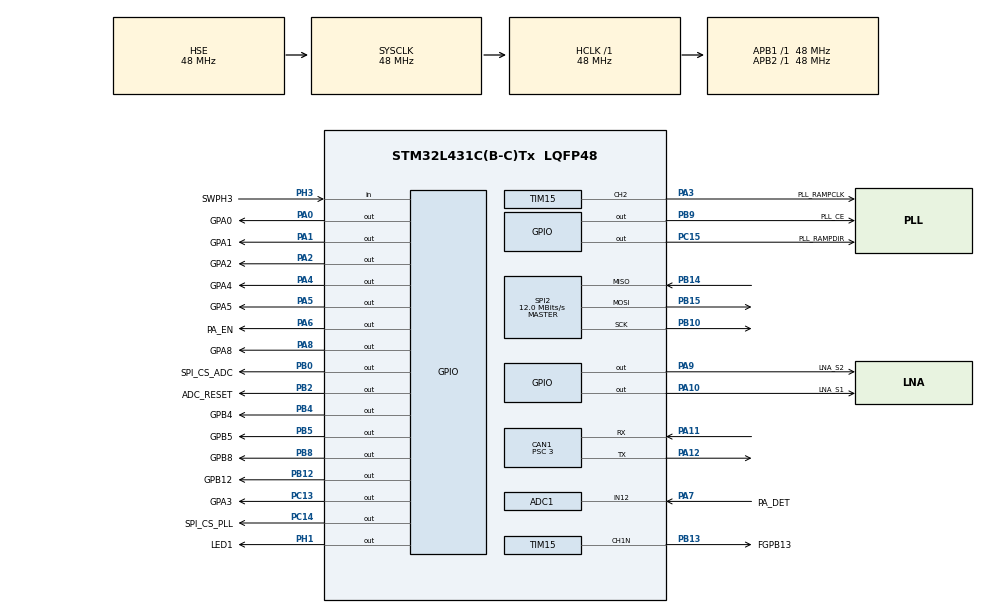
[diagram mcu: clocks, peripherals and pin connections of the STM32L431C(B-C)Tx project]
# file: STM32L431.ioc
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ADC1.Channel-1\#ChannelRegularConversion=ADC_CHANNEL_TEMPSENSOR
ADC1.Channel-2\#ChannelRegularConversion=ADC_CHANNEL_12
ADC1.ContinuousConvMode=DISABLE
ADC1.DMAContinuousRequests=ENABLE
ADC1.NbrOfConversion=2
ADC1.NbrOfConversionFlag=1
ADC1.OffsetNumber-1\#ChannelRegularConversion=ADC_OFFSET_NONE
ADC1.OffsetNumber-2\#ChannelRegularConversion=ADC_OFFSET_NONE
ADC1.Rank-1\#ChannelRegularConversion=1
ADC1.Rank-2\#ChannelRegularConversion=2
ADC1.Resolution=ADC_RESOLUTION_12B
ADC1.SamplingTime-1\#ChannelRegularConversion=ADC_SAMPLETIME_12CYCLES_5
ADC1.SamplingTime-2\#ChannelRegularConversion=ADC_SAMPLETIME_2CYCLES_5
ADC1.master=1
CAN1.BS1=CAN_BS1_13TQ
CAN1.BS2=CAN_BS2_2TQ
CAN1.CalculateBaudRate=1000000
CAN1.CalculateTimeBit=1000
CAN1.CalculateTimeQuantum=62.5
CAN1.Prescaler=3
Dma.ADC1.0.Direction=DMA_PERIPH_TO_MEMORY
Dma.ADC1.0.Instance=DMA1_Channel1
Dma.ADC1.0.MemDataAlignment=DMA_MDATAALIGN_HALFWORD
Dma.ADC1.0.MemInc=DMA_MINC_ENABLE
Dma.ADC1.0.Mode=DMA_NORMAL
Dma.ADC1.0.PeriphDataAlignment=DMA_PDATAALIGN_HALFWORD
Dma.ADC1.0.PeriphInc=DMA_PINC_DISABLE
Dma.ADC1.0.Priority=DMA_PRIORITY_LOW
Dma.Request0=ADC1
Mcu.Family=STM32L4
Mcu.Name=STM32L431C(B-C)Tx
Mcu.Package=LQFP48
NVIC.ADC1_IRQn=true\:0\:0\:false\:false\:true\:true\:true\:true
NVIC.CAN1_RX0_IRQn=true\:0\:0\:false\:false\:true\:true\:true\:true
NVIC.DMA1_Channel1_IRQn=true\:0\:0\:false\:false\:true\:false\:true\:true
NVIC.PriorityGroup=NVIC_PRIORITYGROUP_4
NVIC.TIM1_BRK_TIM15_IRQn=true\:0\:0\:false\:false\:true\:true\:true\:true
PA0.GPIO_Label=GPA0
PA0.Signal=GPIO_Output
PA1.GPIO_Label=GPA1
PA1.Signal=GPIO_Output
PA10.GPIO_Label=LNA_S1
PA10.Signal=GPIO_Output
PA11.Mode=CAN_Activate
PA11.Signal=CAN1_RX
PA12.Mode=CAN_Activate
PA12.Signal=CAN1_TX
PA13\ (JTMS-SWDIO).Mode=Serial_Wire
PA13\ (JTMS-SWDIO).Signal=SYS_JTMS-SWDIO
PA14\ (JTCK-SWCLK).Mode=Serial_Wire
PA14\ (JTCK-SWCLK).Signal=SYS_JTCK-SWCLK
PA2.GPIO_Label=GPA2
PA2.Signal=GPIO_Output
PA3.GPIO_Label=PLL_RAMPCLK
PA3.GPIO_Speed=GPIO_SPEED_FREQ_VERY_HIGH
PA3.Signal=S_TIM15_CH2
PA4.GPIO_Label=GPA4
PA4.Signal=GPIO_Output
PA5.GPIO_Label=GPA5
PA5.Signal=GPIO_Output
PA6.GPIO_Label=PA_EN
PA6.PinState=GPIO_PIN_SET
PA6.Signal=GPIO_Output
PA7.GPIO_Label=PA_DET
PA7.Signal=ADCx_IN12
PA8.GPIO_Label=GPA8
PA8.Signal=GPIO_Output
PA9.GPIO_Label=LNA_S2
PA9.Signal=GPIO_Output
PB0.GPIO_Label=SPI_CS_ADC
PB0.PinState=GPIO_PIN_SET
PB0.Signal=GPIO_Output
PB10.Mode=Full_Duplex_Master
PB10.Signal=SPI2_SCK
PB12.GPIO_Label=GPB12
PB12.Signal=GPIO_Output
PB13.GPIO_Label=FGPB13
PB13.GPIO_Speed=GPIO_SPEED_FREQ_VERY_HIGH
PB13.Mode=Output Compare1 CH1N
PB13.Signal=TIM15_CH1N
PB14.Mode=Full_Duplex_Master
PB14.Signal=SPI2_MISO
PB15.Mode=Full_Duplex_Master
PB15.Signal=SPI2_MOSI
PB2.GPIO_Label=ADC_RESET
PB2.PinState=GPIO_PIN_SET
PB2.Signal=GPIO_Output
PB4\ (NJTRST).GPIO_Label=GPB4
PB4\ (NJTRST).Signal=GPIO_Output
PB5.GPIO_Label=GPB5
PB5.Signal=GPIO_Output
PB8.GPIO_Label=GPB8
PB8.Signal=GPIO_Output
PB9.GPIO_Label=PLL_CE
PB9.Signal=GPIO_Output
PC13.GPIO_Label=GPA3
PC13.Signal=GPIO_Output
PC14-OSC32_IN\ (PC14).GPIO_Label=SPI_CS_PLL
PC14-OSC32_IN\ (PC14).PinState=GPIO_PIN_SET
PC14-OSC32_IN\ (PC14).Signal=GPIO_Output
PC15-OSC32_OUT\ (PC15).GPIO_Label=PLL_RAMPDIR
PC15-OSC32_OUT\ (PC15).Signal=GPIO_Output
PH0-OSC_IN\ (PH0).Mode=HSE-External-Clock-Source
PH0-OSC_IN\ (PH0).Signal=RCC_OSC_IN
PH1-OSC_OUT\ (PH1).GPIO_Label=LED1
PH1-OSC_OUT\ (PH1).PinState=GPIO_PIN_SET
PH1-OSC_OUT\ (PH1).Signal=GPIO_Output
PH3-BOOT0.GPIO_Label=SWPH3
PH3-BOOT0.Signal=GPIO_Input
ProjectManager.HeapSize=0x200
ProjectManager.StackSize=0x400
ProjectManager.TargetToolchain=STM32CubeIDE
RCC.ADCCLockSelection=RCC_ADCCLKSOURCE_SYSCLK
RCC.ADCFreq_Value=48000000
RCC.AHBFreq_Value=48000000
RCC.APB1Freq_Value=48000000
RCC.APB1TimFreq_Value=48000000
RCC.APB2Freq_Value=48000000
RCC.APB2TimFreq_Value=48000000
RCC.CK48CLockSelection=RCC_USBCLKSOURCE_HSI48
RCC.CortexFreq_Value=48000000
RCC.HCLKFreq_Value=48000000
RCC.HSE_VALUE=48000000
RCC.HSI48_VALUE=48000000
RCC.HSI_VALUE=16000000
RCC.LSE_VALUE=32768
RCC.MSI_VALUE=4000000
RCC.PLLM=3
RCC.PLLSourceVirtual=RCC_PLLSOURCE_HSE
RCC.SYSCLKFreq_VALUE=48000000
RCC.SYSCLKSource=RCC_SYSCLKSOURCE_HSE
RCC.VCOOutputFreq_Value=128000000
RCC.VDD_VALUE=2.5
SH.ADCx_IN12.0=ADC1_IN12,IN12-Single-Ended
SH.S_TIM15_CH2.0=TIM15_CH2,Output Compare2 CH2
SPI2.BaudRatePrescaler=SPI_BAUDRATEPRESCALER_4
SPI2.CalculateBaudRate=12.0 MBits/s
SPI2.DataSize=SPI_DATASIZE_8BIT
SPI2.Direction=SPI_DIRECTION_2LINES
SPI2.Mode=SPI_MODE_MASTER
SPI2.TIMode=SPI_TIMODE_DISABLE
SPI2.VirtualType=VM_MASTER
TIM15.Channel-Output\ Compare1\ CH1N=TIM_CHANNEL_1
TIM15.Channel-Output\ Compare2\ CH2=TIM_CHANNEL_2
TIM15.OC2Preload=DISABLE
TIM15.OCMode_1=TIM_OCMODE_TOGGLE
TIM15.OCMode_2=TIM_OCMODE_TOGGLE
TIM15.Period=65535
TIM15.Prescaler=19
TIM15.Pulse-Output\ Compare2\ CH2=0
VP_ADC1_TempSens_Input.Mode=IN-TempSens
VP_ADC1_Vref_Input.Mode=IN-Vrefint
VP_RNG_VS_RNG.Mode=RNG_Activate
VP_TIM15_VS_ClockSourceINT.Mode=Internal
VP_TIM2_VS_ClockSourceITR.Mode=TriggerSource_ITR0
board=custom

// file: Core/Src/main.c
/* USER CODE BEGIN Header */
/**
  ******************************************************************************
  * @file           : main.c
  * @brief          : Main program body
  ******************************************************************************
  * @attention
  *
  * Copyright (c) 2023 STMicroelectronics.
  * All rights reserved.
  *
  * This software is licensed under terms that can be found in the LICENSE file
  * in the root directory of this software component.
  * If no LICENSE file comes with this software, it is provided AS-IS.
  *
  ******************************************************************************
  */
/* USER CODE END Header */
#include "main.h"
#include "adc.h"
#include "can.h"
#include "dma.h"
#include "rng.h"
#include "spi.h"
#include "tim.h"
#include "gpio.h"

/* USER CODE BEGIN Includes */
#include <math.h>
/* USER CODE END Includes */

/* USER CODE BEGIN PD */

#define INTERNAL_TEMPSENSOR_V25        ((int32_t)741)
#define INTERNAL_TEMPSENSOR_AVGSLOPE   ((int32_t)4300)
#define INTERNAL_VREF_CALIB_VALUE   &((uint16_t*)(0x1FFF75AA))

/* USER CODE END PD */

/* USER CODE BEGIN PM */

#define COMPUTATION_TEMPERATURE_STD_PARAMS(TS_ADC_DATA)                        \
  ((((int32_t)(INTERNAL_TEMPSENSOR_V25 - (((TS_ADC_DATA) * VDD_APPLIED) / 4095)   \
     ) * 1000                                                                  \
    ) / INTERNAL_TEMPSENSOR_AVGSLOPE                                           \
   ) + 25                                                                      \
  )

#define COMPUTATION_DIGITAL_12BITS_TO_VOLTAGE(ADC_DATA) ( ((ADC_DATA) * VDD_APPLIED) / 4095)

/* USER CODE END PM */

/* USER CODE BEGIN PV */

uint8_t CAN_request_doactivetimer = 0;

#define TIPLL_FOSCIN 48000000.0f
const uint8_t TIPLL_OSC2X = 1;
const uint8_t TIPLL_MULT = 1;
const uint8_t TIPLL_PRER = 1;
const uint8_t TIPLL_POSTR = 1;
const float TIPLL_FPD = TIPLL_FOSCIN * TIPLL_OSC2X * TIPLL_MULT / TIPLL_PRER / TIPLL_POSTR;
uint8_t TIPLL_DENQ = 32;
//uint32_t TIPLL_DEN = 0xFFFFFFFF;

#define ADCSAMPLE_SIZE (uint32_t)2
#define ADCSAMPLE_PAPWR 0
#define ADCSAMPLE_INTTEMP 1

const uint32_t VDD_APPLIED = 2500; // mV

uint16_t PAPWR_mV = 0;
float	 PAPWR_dB = -40;
 int32_t INTTEMP = 0;

__IO uint16_t adcSampleValues[ADCSAMPLE_SIZE];

/* USER CODE END PV */

void SystemClock_Config(void);
/* USER CODE BEGIN PFP */
void SPIInitTiAdc(void);
void SPIInitTiPll(void);
/* USER CODE END PFP */

int main(void)
{

  /* MCU Configuration--------------------------------------------------------*/

  /* Reset of all peripherals, Initializes the Flash interface and the Systick. */
  HAL_Init();

  /* Configure the system clock */
  SystemClock_Config();

  /* Initialize all configured peripherals */
  MX_GPIO_Init();
  MX_DMA_Init();
  MX_CAN1_Init();
  MX_SPI2_Init();
  MX_TIM15_Init();
  MX_ADC1_Init();
  MX_TIM2_Init();
  MX_RNG_Init();
  /* USER CODE BEGIN 2 */

  HAL_ADCEx_Calibration_Start(&hadc1, ADC_SINGLE_ENDED);
  HAL_ADC_Start_DMA(&hadc1, (uint32_t*)adcSampleValues, ADCSAMPLE_SIZE);

  HAL_CAN_Start(&hcan1);

  SPIInitTiAdc();
  SPIInitTiPll();

  /* USER CODE END 2 */

  /* Infinite loop */
  /* USER CODE BEGIN WHILE */
  while (1)
  {
	  if (CAN_request_doactivetimer && !LL_TIM_IsEnabledCounter(TIM15)) {
		  LL_TIM_EnableCounter(TIM15);

		  canTxHeader.StdId = 0x102;
		  canTxHeader.RTR = CAN_RTR_DATA;
		  canTxHeader.IDE = CAN_ID_STD;
		  canTxHeader.DLC = CAN_DLC_1B;
		  canTx0Data[0] = 0x01;
		  TxMailBox = HAL_CAN_GetTxMailboxesFreeLevel(&hcan1);
		  HAL_CAN_AddTxMessage(&hcan1, &canTxHeader, canTx0Data, &TxMailBox);

	  }
    /* USER CODE END WHILE */

  }
}

void SystemClock_Config(void)
{
  RCC_OscInitTypeDef RCC_OscInitStruct = {0};
  RCC_ClkInitTypeDef RCC_ClkInitStruct = {0};

  /** Configure the main internal regulator output voltage
  */
  if (HAL_PWREx_ControlVoltageScaling(PWR_REGULATOR_VOLTAGE_SCALE1) != HAL_OK)
  {
    Error_Handler();
  }

  /** Initializes the RCC Oscillators according to the specified parameters
  * in the RCC_OscInitTypeDef structure.
  */
  RCC_OscInitStruct.OscillatorType = RCC_OSCILLATORTYPE_HSI48|RCC_OSCILLATORTYPE_HSE;
  RCC_OscInitStruct.HSEState = RCC_HSE_BYPASS;
  RCC_OscInitStruct.HSI48State = RCC_HSI48_ON;
  RCC_OscInitStruct.PLL.PLLState = RCC_PLL_NONE;
  if (HAL_RCC_OscConfig(&RCC_OscInitStruct) != HAL_OK)
  {
    Error_Handler();
  }

  /** Initializes the CPU, AHB and APB buses clocks
  */
  RCC_ClkInitStruct.ClockType = RCC_CLOCKTYPE_HCLK|RCC_CLOCKTYPE_SYSCLK
                              |RCC_CLOCKTYPE_PCLK1|RCC_CLOCKTYPE_PCLK2;
  RCC_ClkInitStruct.SYSCLKSource = RCC_SYSCLKSOURCE_HSE;
  RCC_ClkInitStruct.AHBCLKDivider = RCC_SYSCLK_DIV1;
  RCC_ClkInitStruct.APB1CLKDivider = RCC_HCLK_DIV1;
  RCC_ClkInitStruct.APB2CLKDivider = RCC_HCLK_DIV1;

  if (HAL_RCC_ClockConfig(&RCC_ClkInitStruct, FLASH_LATENCY_2) != HAL_OK)
  {
    Error_Handler();
  }
}

/* USER CODE BEGIN 4 */

/**
  * @brief  Rx Fifo 0 message pending callback
  * @param  hcan: pointer to a CAN_HandleTypeDef structure that contains
  *         the configuration information for the specified CAN.
  * @retval None
  */
void HAL_CAN_RxFifo0MsgPendingCallback(CAN_HandleTypeDef *hcan) {
	if(hcan->Instance == CAN1) {
	  /* Get RX message */
	  if (HAL_CAN_GetRxMessage(hcan, CAN_RX_FIFO0, &canRxHeader, canRx0Data) != HAL_OK)
	  {
		/* Reception Error */
		Error_Handler();
	  }

	  /* Display LEDx */
	  if ((canRxHeader.StdId == 0x106) && (canRxHeader.IDE == CAN_ID_STD)) {
		  LL_GPIO_TogglePin(LED1_GPIO_Port, LED1_Pin);
		  if(canRxHeader.DLC == CAN_DLC_1B && canRx0Data[0] == 0x01) {
			  CAN_request_doactivetimer = 1;
		  }
	  }
	}
}

/*float SE5004LdB2mV(float x) {
	return +279.56f + x * ( +29.544f + x * ( -5.3845f + x * +0.572f ) );
}

float GDf(float (*F)(float), const float y, float x, float lr, float epsilon) {
	float yg;
	float xec, xoc;
	do {
		xec = F(x + epsilon) - y;
		xoc = F(x) - y;
		yg = ( xec * xec - xoc * xoc ) / epsilon;
		x -= yg * lr;
	} while(yg > epsilon || yg < -1.0f * epsilon);

	return x;
}*/

float SE5004L_mV2dB(float x) {
	return -180.1628f + x * (1.302271f + x * (-0.003422f + x * (4.4766E-06f + x * (-2.86512E-09f + x * 7.1481E-13f))));
}

void ADCGetPaPower(void) {
	HAL_ADC_Start(&hadc1);
	HAL_ADC_PollForEvent(&hadc1, ADC_EOSMP_EVENT, 10);
	PAPWR_mV = COMPUTATION_DIGITAL_12BITS_TO_VOLTAGE(adcSampleValues[ADCSAMPLE_PAPWR]);
	PAPWR_dB = SE5004L_mV2dB(PAPWR_mV);
}

#define SPIInitTiAdcW_GenH(addr, value) (0b01000000 | (0b00111111 & (uint8_t)((addr) >> 6)))
#define SPIInitTiAdcW_GenM(addr, value) ((uint8_t)(addr))
#define SPIInitTiAdcW_GenL(addr, value) ((uint8_t)(value))
#define SPIInitTiAdcW_GenArray(addr, value) {SPIInitTiAdcW_GenH(addr, value), SPIInitTiAdcW_GenM(addr, value), SPIInitTiAdcW_GenL(addr, value)}

void SPIInitTiAdc(void) {
	const uint8_t aTxBuffers[][3] = {
			SPIInitTiAdcW_GenArray(0x0001, 0b00111100),	// Disable Dither
			SPIInitTiAdcW_GenArray(0x0005, 0b00000001),	// Two-Wire
			SPIInitTiAdcW_GenArray(0x0009, 0b00000001),	// Two's Complement
			SPIInitTiAdcW_GenArray(0x0439, 0b00001000),	// CH A SP1
			SPIInitTiAdcW_GenArray(0x0539, 0b00001000),	// CH B SP1
			SPIInitTiAdcW_GenArray(0x070a, 0b00000001)	// Disable SYSREF
	};

	LL_GPIO_ResetOutputPin(ADC_RESET_GPIO_Port, ADC_RESET_Pin);

	HAL_Delay(10);

	for (uint8_t i = 0; i < COUNTOF(aTxBuffers); i++) {
		asm("NOP");
		LL_GPIO_ResetOutputPin(SPI_CS_ADC_GPIO_Port, SPI_CS_ADC_Pin);
		asm("NOP");

		if (HAL_SPI_Transmit(&hspi2, (uint8_t*)aTxBuffers[i], 3, 10) != HAL_OK) {
		    Error_Handler();
		}

		asm("NOP");
		LL_GPIO_SetOutputPin(SPI_CS_ADC_GPIO_Port, SPI_CS_ADC_Pin);
	}

}

#define SPIInitTiPllW_GenH(addr, value) (0b01111111 & (uint8_t)(addr))
#define SPIInitTiPllW_GenM(addr, value) ((uint8_t)(value >> 8))
#define SPIInitTiPllW_GenL(addr, value) ((uint8_t)(value))
#define SPIInitTiPllW_GenArray(addr, value) {SPIInitTiAdcW_GenH(addr, value), SPIInitTiAdcW_GenM(addr, value), SPIInitTiAdcW_GenL(addr, value)}

void SPIInitTiPll(void) {
	LL_GPIO_ResetOutputPin(SPI_CS_PLL_GPIO_Port, SPI_CS_PLL_Pin);
	asm("NOP");

	const uint8_t aTxBufferResetSeq[] = SPIInitTiPllW_GenArray(0, 0b0000000000000010);

	if (HAL_SPI_Transmit(&hspi2, (uint8_t*)aTxBufferResetSeq, 3, 10) != HAL_OK) {
	    Error_Handler();
	}
	LL_GPIO_SetOutputPin(SPI_CS_PLL_GPIO_Port, SPI_CS_PLL_Pin);
	asm("NOP");

	const uint8_t aTxBuffers[][3] = {
			SPIInitTiPllW_GenArray( 96, 0b1000000000000001), // Burst EN, CNT:1
			SPIInitTiPllW_GenArray( 97, 0b1000000000001001), // RAMP0 RST, TrigA:ClkR, TrigB:Disable, Burst:TrigA
			SPIInitTiPllW_GenArray(105, 0b0000000000100000), // Manual Ramping
			SPIInitTiPllW_GenArray( 46, 0b0000011111110001), // OutB:VCO
			SPIInitTiPllW_GenArray( 45, 0b1100111000000000 | 12u), // OutA:VCO, OutBPWR: 12
			SPIInitTiPllW_GenArray( 44, 0b0000000100100010), // OutAPWR: 0, OutAEn: Off
	};

	for (uint8_t i = 0; i < COUNTOF(aTxBuffers); i++) {
		asm("NOP");
		LL_GPIO_ResetOutputPin(SPI_CS_PLL_GPIO_Port, SPI_CS_PLL_Pin);
		asm("NOP");

		if (HAL_SPI_Transmit(&hspi2, (uint8_t*)aTxBuffers[i], 3, 10) != HAL_OK) {
		    Error_Handler();
		}

		asm("NOP");
		LL_GPIO_SetOutputPin(SPI_CS_PLL_GPIO_Port, SPI_CS_PLL_Pin);
	}
}

/**
  * @param  power: 0 .. 63 (highest)
  * @param  powerdown: 0 .. 1 (off)
  */
void SPISetTiPllOutAPwr(uint8_t power, uint8_t powerdown) {
	const uint8_t aTxBuffer[] = SPIInitTiPllW_GenArray( 44, 0b0000000000100010 | ((power & 0x3F) << 8) | ((powerdown & 0x01) << 6)); // OutAPWR: 63

	LL_GPIO_ResetOutputPin(SPI_CS_PLL_GPIO_Port, SPI_CS_PLL_Pin);
	asm("NOP");

	if (HAL_SPI_Transmit(&hspi2, (uint8_t*)aTxBuffer, 3, 10) != HAL_OK) {
		Error_Handler();
	}

	asm("NOP");
	LL_GPIO_SetOutputPin(SPI_CS_PLL_GPIO_Port, SPI_CS_PLL_Pin);
}

void SPISetTiPllFreq(float f) {
	uint8_t denq = TIPLL_DENQ;
	uint32_t den = (1u << denq) - 1;
	uint64_t ns = f * den / TIPLL_FPD;

	uint32_t sq = ns % den;
	uint32_t sp = (ns - sq) / den;
	if(sp & 0xFFFF0000) return; // OVF.

	const uint8_t aTxBuffers[][3] = {
			SPIInitTiPllW_GenArray( 43, (uint16_t)(sq)),
			SPIInitTiPllW_GenArray( 42, (uint16_t)(sq >> 16)),

			SPIInitTiPllW_GenArray( 39, (uint16_t)(den)),
			SPIInitTiPllW_GenArray( 38, (uint16_t)(den >> 16)),

			SPIInitTiPllW_GenArray( 36, (uint16_t)(sp)),
	};

	for (uint8_t i = 0; i < COUNTOF(aTxBuffers); i++) {
		asm("NOP");
		LL_GPIO_ResetOutputPin(SPI_CS_PLL_GPIO_Port, SPI_CS_PLL_Pin);
		asm("NOP");

		if (HAL_SPI_Transmit(&hspi2, (uint8_t*)aTxBuffers[i], 3, 10) != HAL_OK) {
		    Error_Handler();
		}

		asm("NOP");
		LL_GPIO_SetOutputPin(SPI_CS_PLL_GPIO_Port, SPI_CS_PLL_Pin);
	}
}

void SPISetTiPllRampFreq(float start, float end, uint16_t len, float threshbw, float limithigh, float limitlow) {

	uint8_t denq = TIPLL_DENQ;
	uint32_t den = (1u << denq) - 1;
	uint64_t ns = start * den / TIPLL_FPD;
	uint64_t ne = end   * den / TIPLL_FPD;
	int64_t so = ne - ns;
	int64_t ss = llround(1.0f * so / len);

	while ((ss & 0x7FFFFFFFE0000000) != 0) {
		if(denq > 2) denq--;
		else return; // Unable to set.
		den = (1u << denq) - 1;
		ns = start * den / TIPLL_FPD;
		ne = end   * den / TIPLL_FPD;
		so = ne - ns;
		ss = llround(1.0f * so / len);
	}

	uint32_t sq = ns % den;
	uint32_t sp = (ns - sq) / den;
	if(sp & 0xFFFF0000) return; // OVF.

	uint64_t rthresh = llround(threshbw * 16777216.0f / TIPLL_FPD); // 32bit
	uint64_t rlhramp = llround(16777216.0f * (limithigh - start) / TIPLL_FPD); // 33bit
	uint64_t rllramp = 8589934592ull - llround(16777216.0f * (start - limitlow) / TIPLL_FPD); // 33bit

	const uint8_t aTxBuffers[][3] = {
			SPIInitTiPllW_GenArray(100, len),
			SPIInitTiPllW_GenArray( 99, ((uint16_t)(ss))),
			SPIInitTiPllW_GenArray( 98, ((uint16_t)(ss >> 48) & 0x8000) | ((uint16_t)(ss >> 14) & 0x7FFC) | 0b00),

			SPIInitTiPllW_GenArray( 86, (uint16_t)(rllramp)),
			SPIInitTiPllW_GenArray( 85, (uint16_t)(rllramp >> 16)),
			SPIInitTiPllW_GenArray( 84, (uint16_t)(rllramp >> 32) & 0x0001),
			SPIInitTiPllW_GenArray( 83, (uint16_t)(rlhramp)),

			SPIInitTiPllW_GenArray( 82, (uint16_t)(rlhramp >> 16)),
			SPIInitTiPllW_GenArray( 81, (uint16_t)(rlhramp >> 32) & 0x0001),
			SPIInitTiPllW_GenArray( 80, (uint16_t)(rthresh)),
			SPIInitTiPllW_GenArray( 79, (uint16_t)(rthresh >> 16)),

			SPIInitTiPllW_GenArray( 43, (uint16_t)(sq)),
			SPIInitTiPllW_GenArray( 42, (uint16_t)(sq >> 16)),

			SPIInitTiPllW_GenArray( 39, (uint16_t)(den)),
			SPIInitTiPllW_GenArray( 38, (uint16_t)(den >> 16)),

			SPIInitTiPllW_GenArray( 36, (uint16_t)(sp)),
	};

	for (uint8_t i = 0; i < COUNTOF(aTxBuffers); i++) {
		asm("NOP");
		LL_GPIO_ResetOutputPin(SPI_CS_PLL_GPIO_Port, SPI_CS_PLL_Pin);
		asm("NOP");

		if (HAL_SPI_Transmit(&hspi2, (uint8_t*)aTxBuffers[i], 3, 10) != HAL_OK) {
		    Error_Handler();
		}

		asm("NOP");
		LL_GPIO_SetOutputPin(SPI_CS_PLL_GPIO_Port, SPI_CS_PLL_Pin);
	}
}

void Reset_Handler(void) {}

/* USER CODE END 4 */

void Error_Handler(void)
{
  __disable_irq();
  while (1)
  {
  }
}
